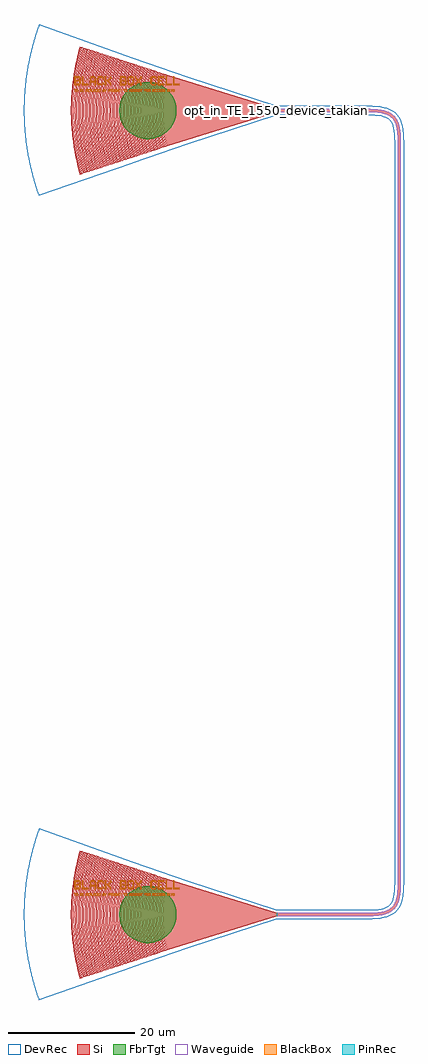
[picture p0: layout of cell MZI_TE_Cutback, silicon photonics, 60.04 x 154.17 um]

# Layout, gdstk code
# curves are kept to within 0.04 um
import gdstk
lib = gdstk.Library(unit=1e-6, precision=1e-09)
def R(c, l, rs):  # rectangles x0, y0, x1, y1
    for r in rs: c.add(gdstk.rectangle(r[:2], r[2:], *l))
def P(c, l, *ps):  # polygons
    for p in ps: c.add(gdstk.Polygon(p, *l))
Si = (1, 0)
PinRec = (1, 10)
Waveguide = (1, 99)
DevRec = (68, 0)
FbrTgt = (81, 0)
BlackBox = (998, 0)

te1550_subgc_neg31_oxide = lib.new_cell('TE1550_SubGC_neg31_oxide')
P(te1550_subgc_neg31_oxide, Si, [(-17.556,-5.704),(-17.743,-4.914),(-17.881,-4.233),(-18.016,-3.437),(-18.095,-2.866),(-18.165,-2.237),(-18.222,-1.549),(-18.256,-0.918),(-18.274,-0.115),(-18.264,0.689),(-18.233,1.377),(-18.176,2.122),(-18.095,2.866),(-18.016,3.437),(-17.881,4.233),(-17.743,4.914),(-17.556,5.704),(-17.481,5.68),(-17.643,5.006),(-17.784,4.329),(-17.922,3.536),(-18.032,2.74),(-18.104,2.056),(-18.148,1.486),(-18.186,0.686),(-18.196,0.114),(-18.189,-0.572),(-18.165,-1.2),(-18.123,-1.828),(-18.058,-2.512),(-17.948,-3.365),(-17.826,-4.102),(-17.668,-4.893),(-17.481,-5.68)],
  [(-17.906,-5.818),(-18.207,-4.492),(-18.452,-2.982),(-18.601,-1.405),(-18.643,-0.117),(-18.601,1.405),(-18.452,2.982),(-18.207,4.492),(-17.906,5.818),(-17.659,5.738),(-17.932,4.544),(-18.188,2.998),(-18.338,1.443),(-18.383,0.116),(-18.338,-1.443),(-18.188,-2.998),(-17.932,-4.544),(-17.659,-5.738)],
  [(-18.084,-5.876),(-18.24,-5.237),(-18.4,-4.479),(-18.525,-3.776),(-18.629,-3.071),(-18.717,-2.305),(-18.772,-1.656),(-18.811,-0.946),(-18.83,-0.118),(-18.823,0.592),(-18.791,1.36),(-18.739,2.069),(-18.644,2.953),(-18.544,3.658),(-18.4,4.479),(-18.24,5.237),(-18.084,5.876),(-18.01,5.852),(-18.204,5.041),(-18.368,4.227),(-18.503,3.409),(-18.609,2.589),(-18.713,1.354),(-18.745,0.589),(-18.752,0.118),(-18.745,-0.589),(-18.713,-1.354),(-18.609,-2.589),(-18.503,-3.409),(-18.368,-4.227),(-18.204,-5.041),(-18.01,-5.852)],
  [(-18.435,-5.99),(-18.77,-4.506),(-19.001,-3.071),(-19.135,-1.748),(-19.199,-0.121),(-19.159,1.387),(-19.001,3.071),(-18.77,4.506),(-18.435,5.99),(-18.188,5.91),(-18.517,4.445),(-18.744,3.029),(-18.896,1.427),(-18.939,0.119),(-18.896,-1.427),(-18.759,-2.911),(-18.517,-4.445),(-18.188,-5.91)],
  [(-18.613,-6.048),(-18.815,-5.211),(-18.963,-4.49),(-19.099,-3.705),(-19.201,-2.979),(-19.269,-2.373),(-19.338,-1.522),(-19.369,-0.913),(-19.386,-0.122),(-19.377,0.67),(-19.349,1.339),(-19.286,2.191),(-19.201,2.979),(-19.099,3.705),(-18.963,4.49),(-18.815,5.211),(-18.613,6.048),(-18.539,6.024),(-18.713,5.309),(-18.876,4.532),(-19.013,3.751),(-19.131,2.907),(-19.203,2.242),(-19.264,1.455),(-19.291,0.91),(-19.308,0.121),(-19.299,-0.667),(-19.271,-1.334),(-19.239,-1.819),(-19.166,-2.605),(-19.076,-3.329),(-18.91,-4.352),(-18.753,-5.13),(-18.539,-6.024)],
  [(-18.964,-6.162),(-19.262,-4.881),(-19.533,-3.283),(-19.689,-1.799),(-19.755,-0.124),(-19.717,1.365),(-19.573,2.974),(-19.334,4.513),(-18.964,6.162),(-18.717,6.081),(-19.046,4.636),(-19.301,3.057),(-19.43,1.775),(-19.495,0.122),(-19.454,-1.408),(-19.301,-3.057),(-19.046,-4.636),(-18.717,-6.081)],
  [(-19.142,-6.22),(-19.337,-5.421),(-19.48,-4.742),(-19.625,-3.936),(-19.726,-3.251),(-19.808,-2.566),(-19.884,-1.691),(-19.924,-0.94),(-19.942,-0.125),(-19.934,0.626),(-19.9,1.44),(-19.833,2.316),(-19.758,3.002),(-19.635,3.874),(-19.516,4.556),(-19.337,5.421),(-19.142,6.22),(-19.068,6.195),(-19.289,5.277),(-19.44,4.538),(-19.587,3.673),(-19.696,2.866),(-19.772,2.12),(-19.822,1.435),(-19.853,0.749),(-19.864,0.125),(-19.853,-0.749),(-19.822,-1.435),(-19.772,-2.12),(-19.696,-2.866),(-19.587,-3.673),(-19.44,-4.538),(-19.289,-5.277),(-19.068,-6.195)],
  [(-19.493,-6.334),(-19.839,-4.829),(-20.107,-3.185),(-20.256,-1.658),(-20.311,-0.128),(-20.268,1.467),(-20.107,3.185),(-19.839,4.829),(-19.493,6.334),(-19.246,6.253),(-19.574,4.829),(-19.842,3.207),(-19.997,1.637),(-20.051,0.126),(-20.005,-1.511),(-19.866,-3.019),(-19.622,-4.581),(-19.246,-6.253)],
  [(-19.671,-6.391),(-19.843,-5.697),(-20.008,-4.937),(-20.149,-4.173),(-20.283,-3.278),(-20.379,-2.444),(-20.438,-1.738),(-20.482,-0.901),(-20.498,-0.129),(-20.482,0.901),(-20.438,1.738),(-20.379,2.444),(-20.283,3.278),(-20.149,4.173),(-20.008,4.937),(-19.843,5.697),(-19.671,6.391),(-19.597,6.367),(-19.797,5.55),(-20.005,4.538),(-20.153,3.648),(-20.246,2.946),(-20.325,2.179),(-20.373,1.539),(-20.404,0.898),(-20.42,0.128),(-20.412,-0.641),(-20.384,-1.347),(-20.336,-2.051),(-20.261,-2.819),(-20.153,-3.648),(-20.017,-4.474),(-19.825,-5.424),(-19.597,-6.367)],
  [(-20.022,-6.505),(-20.392,-4.896),(-20.656,-3.272),(-20.81,-1.704),(-20.867,-0.131),(-20.81,1.704),(-20.656,3.272),(-20.392,4.896),(-20.022,6.505),(-19.774,6.425),(-20.139,4.835),(-20.382,3.36),(-20.542,1.812),(-20.607,0.129),(-20.567,-1.424),(-20.399,-3.231),(-20.139,-4.835),(-19.774,-6.425)],
  [(-20.199,-6.563),(-20.437,-5.591),(-20.599,-4.809),(-20.726,-4.089),(-20.832,-3.367),(-20.931,-2.511),(-20.992,-1.785),(-21.04,-0.86),(-21.054,-0.132),(-21.044,0.728),(-21.001,1.653),(-20.931,2.511),(-20.849,3.235),(-20.726,4.089),(-20.599,4.809),(-20.437,5.591),(-20.199,6.563),(-20.125,6.539),(-20.347,5.635),(-20.523,4.791),(-20.67,3.943),(-20.804,2.961),(-20.878,2.239),(-20.923,1.647),(-20.962,0.857),(-20.976,0.132),(-20.966,-0.725),(-20.935,-1.449),(-20.878,-2.239),(-20.804,-2.961),(-20.67,-3.943),(-20.523,-4.791),(-20.347,-5.635),(-20.125,-6.539)],
  [(-20.55,-6.677),(-20.906,-5.158),(-21.205,-3.359),(-21.355,-1.883),(-21.423,-0.135),(-21.373,1.615),(-21.205,3.359),(-20.906,5.158),(-20.55,6.677),(-20.303,6.597),(-20.705,4.833),(-20.957,3.252),(-21.105,1.728),(-21.163,0.133),(-21.105,-1.728),(-20.957,-3.252),(-20.705,-4.833),(-20.303,-6.597)],
  [(-20.728,-6.735),(-20.912,-6.004),(-21.101,-5.136),(-21.249,-4.331),(-21.372,-3.523),(-21.483,-2.577),(-21.546,-1.832),(-21.593,-0.95),(-21.61,-0.136),(-21.593,0.95),(-21.555,1.696),(-21.483,2.577),(-21.39,3.388),(-21.249,4.331),(-21.101,5.136),(-20.912,6.004),(-20.728,6.735),(-20.654,6.711),(-20.868,5.85),(-21.025,5.118),(-21.195,4.181),(-21.33,3.241),(-21.412,2.5),(-21.473,1.758),(-21.515,0.947),(-21.532,0.135),(-21.525,-0.609),(-21.497,-1.352),(-21.448,-2.095),(-21.37,-2.904),(-21.237,-3.913),(-21.077,-4.85),(-20.868,-5.85),(-20.654,-6.711)],
  [(-21.079,-6.849),(-21.432,-5.359),(-21.736,-3.583),(-21.923,-1.725),(-21.979,-0.138),(-21.923,1.725),(-21.772,3.308),(-21.473,5.155),(-21.079,6.849),(-20.832,6.769),(-21.207,5.162),(-21.47,3.608),(-21.664,1.705),(-21.719,0.136),(-21.664,-1.705),(-21.515,-3.269),(-21.207,-5.162),(-20.832,-6.769)],
  [(-21.257,-6.907),(-21.494,-5.953),(-21.655,-5.199),(-21.817,-4.304),(-21.93,-3.544),(-22.042,-2.574),(-22.105,-1.81),(-22.146,-1.044),(-22.166,-0.139),(-22.159,0.627),(-22.114,1.67),(-22.042,2.574),(-21.957,3.336),(-21.817,4.304),(-21.655,5.199),(-21.494,5.953),(-21.257,6.907),(-21.183,6.883),(-21.419,5.932),(-21.606,5.044),(-21.773,4.083),(-21.888,3.256),(-21.971,2.495),(-22.036,1.665),(-22.073,0.902),(-22.088,0.139),(-22.081,-0.624),(-22.052,-1.387),(-22.001,-2.149),(-21.905,-3.117),(-21.773,-4.083),(-21.606,-5.044),(-21.419,-5.932),(-21.183,-6.883)],
  [(-21.608,-7.021),(-21.985,-5.425),(-22.294,-3.603),(-22.482,-1.698),(-22.535,-0.142),(-22.482,1.698),(-22.294,3.603),(-21.985,5.425),(-21.608,7.021),(-21.361,6.941),(-21.761,5.224),(-22.028,3.631),(-22.218,1.749),(-22.275,0.14),(-22.227,-1.609),(-22.073,-3.283),(-21.788,-5.086),(-21.361,-6.941)],
  [(-21.786,-7.079),(-21.964,-6.381),(-22.167,-5.469),(-22.302,-4.765),(-22.469,-3.704),(-22.565,-2.923),(-22.649,-1.997),(-22.704,-0.999),(-22.722,-0.143),(-22.713,0.714),(-22.677,1.57),(-22.601,2.567),(-22.488,3.562),(-22.374,4.341),(-22.195,5.329),(-22.03,6.101),(-21.786,7.079),(-21.712,7.055),(-21.922,6.22),(-22.161,5.1),(-22.308,4.256),(-22.447,3.267),(-22.53,2.487),(-22.586,1.778),(-22.626,0.996),(-22.644,0.142),(-22.635,-0.711),(-22.595,-1.635),(-22.53,-2.487),(-22.447,-3.267),(-22.308,-4.256),(-22.161,-5.1),(-21.922,-6.22),(-21.712,-7.055)],
  [(-22.137,-7.193),(-22.54,-5.486),(-22.843,-3.692),(-23.011,-2.102),(-23.091,-0.145),(-23.045,1.595),(-22.862,3.547),(-22.54,5.486),(-22.137,7.193),(-21.89,7.112),(-22.287,5.425),(-22.596,3.579),(-22.777,1.721),(-22.831,0.143),(-22.777,-1.721),(-22.596,-3.579),(-22.287,-5.425),(-21.89,-7.112)],
  [(-22.315,-7.25),(-22.549,-6.321),(-22.736,-5.458),(-22.895,-4.592),(-23.047,-3.576),(-23.139,-2.776),(-23.218,-1.827),(-23.262,-0.951),(-23.278,-0.146),(-23.262,0.951),(-23.218,1.827),(-23.139,2.776),(-23.047,3.576),(-22.895,4.592),(-22.736,5.458),(-22.549,6.321),(-22.315,7.25),(-22.24,7.226),(-22.457,6.372),(-22.646,5.512),(-22.843,4.432),(-22.979,3.492),(-23.076,2.621),(-23.145,1.748),(-23.184,0.947),(-23.2,0.146),(-23.194,-0.583),(-23.158,-1.53),(-23.102,-2.33),(-23.006,-3.274),(-22.899,-4.071),(-22.73,-5.081),(-22.507,-6.157),(-22.24,-7.226)],
  [(-22.666,-7.364),(-23.095,-5.545),(-23.392,-3.78),(-23.581,-1.93),(-23.647,-0.149),(-23.586,1.856),(-23.421,3.559),(-23.095,5.545),(-22.666,7.364),(-22.418,7.284),(-22.842,5.484),(-23.145,3.666),(-23.311,2.056),(-23.387,0.147),(-23.336,-1.689),(-23.145,-3.666),(-22.842,-5.484),(-22.418,-7.284)],
  [(-22.843,-7.422),(-23.067,-6.545),(-23.262,-5.662),(-23.441,-4.701),(-23.556,-3.959),(-23.691,-2.842),(-23.762,-2.02),(-23.815,-1.048),(-23.834,-0.15),(-23.82,0.898),(-23.782,1.721),(-23.713,2.618),(-23.606,3.587),(-23.441,4.701),(-23.277,5.588),(-23.067,6.545),(-22.843,7.422),(-22.769,7.398),(-22.992,6.523),(-23.201,5.57),(-23.389,4.538),(-23.538,3.501),(-23.642,2.535),(-23.704,1.716),(-23.742,0.895),(-23.756,0.149),(-23.742,-0.895),(-23.704,-1.716),(-23.642,-2.535),(-23.565,-3.278),(-23.401,-4.464),(-23.23,-5.423),(-22.992,-6.523),(-22.769,-7.398)],
  [(-23.194,-7.536),(-23.605,-5.824),(-23.951,-3.793),(-24.135,-1.976),(-24.203,-0.152),(-24.15,1.748),(-23.961,3.718),(-23.605,5.824),(-23.194,7.536),(-22.947,7.456),(-23.368,5.688),(-23.684,3.827),(-23.876,1.955),(-23.943,0.15),(-23.886,-1.804),(-23.704,-3.678),(-23.383,-5.614),(-22.947,-7.456)],
  [(-23.372,-7.594),(-23.602,-6.696),(-23.802,-5.793),(-23.96,-4.962),(-24.115,-3.975),(-24.219,-3.137),(-24.316,-2.067),(-24.373,-0.996),(-24.39,-0.153),(-24.373,0.996),(-24.316,2.067),(-24.219,3.137),(-24.115,3.975),(-23.96,4.962),(-23.802,5.793),(-23.602,6.696),(-23.372,7.594),(-23.298,7.57),(-23.562,6.525),(-23.801,5.399),(-23.971,4.417),(-24.088,3.583),(-24.188,2.67),(-24.249,1.908),(-24.295,0.993),(-24.312,0.153),(-24.3,-0.84),(-24.263,-1.68),(-24.195,-2.594),(-24.088,-3.583),(-23.971,-4.417),(-23.801,-5.399),(-23.562,-6.525),(-23.298,-7.57)],
  [(-23.723,-7.708),(-24.145,-5.957),(-24.479,-4.035),(-24.678,-2.176),(-24.759,-0.156),(-24.709,1.71),(-24.5,3.88),(-24.145,5.957),(-23.723,7.708),(-23.476,7.628),(-23.908,5.819),(-24.233,3.916),(-24.43,2),(-24.499,0.154),(-24.43,-2),(-24.233,-3.916),(-23.908,-5.819),(-23.476,-7.628)],
  [(-23.901,-7.766),(-24.137,-6.848),(-24.358,-5.848),(-24.518,-4.997),(-24.674,-3.987),(-24.779,-3.13),(-24.87,-2.115),(-24.916,-1.332),(-24.946,-0.157),(-24.931,0.94),(-24.891,1.802),(-24.803,2.896),(-24.695,3.832),(-24.531,4.92),(-24.358,5.848),(-24.137,6.848),(-23.901,7.766),(-23.827,7.742),(-24.098,6.674),(-24.313,5.676),(-24.493,4.672),(-24.638,3.665),(-24.733,2.809),(-24.803,1.952),(-24.848,1.094),(-24.868,0.156),(-24.858,-0.781),(-24.818,-1.718),(-24.733,-2.809),(-24.638,-3.665),(-24.493,-4.672),(-24.313,-5.676),(-24.098,-6.674),(-23.827,-7.742)],
  [(-24.252,-7.88),(-24.717,-5.934),(-25.049,-3.967),(-25.232,-2.225),(-25.315,-0.159),(-25.259,1.828),(-25.07,3.809),(-24.717,5.934),(-24.252,7.88),(-24.005,7.8),(-24.464,5.873),(-24.782,4.005),(-24.973,2.202),(-25.055,0.157),(-25.009,-1.652),(-24.803,-3.848),(-24.464,-5.873),(-24.005,-7.8)],
  [(-24.43,-7.938),(-24.709,-6.843),(-24.866,-6.135),(-25.049,-5.187),(-25.234,-3.997),(-25.339,-3.12),(-25.424,-2.162),(-25.478,-1.202),(-25.502,-0.16),(-25.489,0.881),(-25.435,2.002),(-25.339,3.12),(-25.234,3.997),(-25.049,5.187),(-24.866,6.135),(-24.709,6.843),(-24.43,7.938),(-24.356,7.914),(-24.634,6.822),(-24.839,5.881),(-25,5.014),(-25.178,3.826),(-25.278,2.952),(-25.352,2.075),(-25.397,1.278),(-25.424,0.16),(-25.409,-0.958),(-25.377,-1.677),(-25.293,-2.792),(-25.198,-3.667),(-25.052,-4.697),(-24.839,-5.881),(-24.634,-6.822),(-24.356,-7.914)],
  [(-24.781,-8.052),(-25.241,-6.144),(-25.576,-4.216),(-25.803,-2.031),(-25.871,-0.163),(-25.803,2.031),(-25.609,3.974),(-25.274,5.984),(-24.781,8.052),(-24.533,7.971),(-24.972,6.161),(-25.308,4.253),(-25.544,2.01),(-25.611,0.161),(-25.544,-2.01),(-25.352,-3.934),(-25.021,-5.924),(-24.533,-7.971)],
  [(-24.959,-8.11),(-25.187,-7.232),(-25.423,-6.188),(-25.635,-5.057),(-25.772,-4.165),(-25.891,-3.188),(-25.984,-2.127),(-26.03,-1.31),(-26.058,-0.164),(-26.045,0.9),(-25.995,1.964),(-25.891,3.188),(-25.794,4.002),(-25.635,5.057),(-25.423,6.188),(-25.187,7.232),(-24.959,8.11),(-24.884,8.085),(-25.15,7.051),(-25.38,6.009),(-25.572,4.961),(-25.738,3.828),(-25.846,2.853),(-25.917,1.958),(-25.967,0.898),(-25.98,0.163),(-25.967,-0.898),(-25.932,-1.713),(-25.868,-2.609),(-25.768,-3.585),(-25.624,-4.638),(-25.412,-5.848),(-25.207,-6.811),(-24.884,-8.085)],
  [(-25.31,-8.224),(-25.815,-6.112),(-26.136,-4.224),(-26.357,-2.074),(-26.427,-0.166),(-26.368,1.909),(-26.18,3.894),(-25.815,6.112),(-25.31,8.224),(-25.062,8.143),(-25.512,6.295),(-25.868,4.264),(-26.098,2.054),(-26.167,0.164),(-26.123,-1.644),(-25.923,-3.856),(-25.562,-6.052),(-25.062,-8.143)],
  [(-25.487,-8.281),(-25.761,-7.222),(-25.946,-6.402),(-26.152,-5.33),(-26.321,-4.254),(-26.451,-3.173),(-26.532,-2.256),(-26.589,-1.254),(-26.614,-0.167),(-26.598,1.003),(-26.538,2.172),(-26.451,3.173),(-26.321,4.254),(-26.152,5.33),(-25.946,6.402),(-25.761,7.222),(-25.487,8.281),(-25.413,8.257),(-25.686,7.201),(-25.921,6.137),(-26.118,5.067),(-26.288,3.91),(-26.374,3.164),(-26.466,2.083),(-26.511,1.25),(-26.536,0.167),(-26.525,-0.834),(-26.482,-1.833),(-26.406,-2.831),(-26.288,-3.91),(-26.118,-5.067),(-25.921,-6.137),(-25.686,-7.201),(-25.413,-8.257)],
  [(-25.838,-8.395),(-26.339,-6.323),(-26.685,-4.312),(-26.887,-2.456),(-26.983,-0.17),(-26.917,2.033),(-26.708,4.144),(-26.356,6.24),(-25.838,8.395),(-25.591,8.315),(-26.086,6.263),(-26.44,4.188),(-26.658,2.014),(-26.723,0.168),(-26.658,-2.014),(-26.44,-4.188),(-26.086,-6.263),(-25.591,-8.315)],
  [(-26.016,-8.453),(-26.256,-7.539),(-26.503,-6.451),(-26.697,-5.441),(-26.858,-4.427),(-26.976,-3.494),(-27.086,-2.303),(-27.144,-1.28),(-27.17,-0.085),(-27.156,0.939),(-27.098,2.133),(-27.012,3.154),(-26.893,4.173),(-26.726,5.272),(-26.538,6.283),(-26.256,7.539),(-26.016,8.453),(-25.942,8.429),(-26.261,7.184),(-26.479,6.181),(-26.664,5.173),(-26.838,3.992),(-26.943,3.06),(-27.026,2.042),(-27.078,0.936),(-27.092,0.085),(-27.078,-0.936),(-27.026,-2.042),(-26.943,-3.06),(-26.838,-3.992),(-26.664,-5.173),(-26.479,-6.181),(-26.261,-7.184),(-25.942,-8.429)],
  [(-26.367,-8.567),(-26.897,-6.368),(-27.246,-4.315),(-27.466,-2.162),(-27.539,-0.087),(-27.466,2.162),(-27.246,4.315),(-26.897,6.368),(-26.367,8.567),(-26.12,8.487),(-26.644,6.308),(-26.989,4.275),(-27.218,1.97),(-27.279,0.086),(-27.218,-1.97),(-26.989,-4.275),(-26.644,-6.308),(-26.12,-8.487)],
  [(-26.545,-8.625),(-26.832,-7.522),(-27.079,-6.411),(-27.286,-5.294),(-27.442,-4.258),(-27.573,-3.132),(-27.658,-2.089),(-27.712,-0.958),(-27.726,-0.087),(-27.712,0.958),(-27.658,2.089),(-27.573,3.132),(-27.442,4.258),(-27.286,5.294),(-27.079,6.411),(-26.832,7.522),(-26.545,8.625),(-26.471,8.601),(-26.777,7.416),(-27.003,6.393),(-27.195,5.365),(-27.365,4.246),(-27.487,3.209),(-27.586,1.997),(-27.634,0.955),(-27.648,0.087),(-27.634,-0.955),(-27.586,-1.997),(-27.52,-2.863),(-27.42,-3.815),(-27.265,-4.935),(-27.071,-6.051),(-26.817,-7.246),(-26.63,-8.01),(-26.471,-8.601)],
  [(-26.896,-8.739),(-27.402,-6.67),(-27.783,-4.49),(-28.014,-2.293),(-28.095,-0.088),(-28.026,2.117),(-27.807,4.315),(-27.438,6.496),(-26.896,8.739),(-26.649,8.659),(-27.185,6.436),(-27.55,4.275),(-27.761,2.185),(-27.835,0.087),(-27.761,-2.185),(-27.55,-4.275),(-27.185,-6.436),(-26.649,-8.659)],
  [(-27.074,-8.797),(-27.346,-7.759),(-27.602,-6.627),(-27.802,-5.576),(-27.955,-4.608),(-28.098,-3.46),(-28.194,-2.397),(-28.255,-1.332),(-28.282,-0.089),(-28.265,1.066),(-28.218,2.042),(-28.134,3.106),(-28.015,4.167),(-27.832,5.4),(-27.62,6.539),(-27.346,7.759),(-27.074,8.797),(-27,8.773),(-27.292,7.651),(-27.544,6.521),(-27.77,5.297),(-27.949,4.067),(-28.048,3.186),(-28.129,2.214),(-28.184,1.152),(-28.204,0.089),(-28.187,-1.063),(-28.146,-1.948),(-28.073,-2.921),(-27.949,-4.067),(-27.77,-5.297),(-27.544,-6.521),(-27.292,-7.651),(-27,-8.773)],
  [(-27.425,-8.911),(-27.979,-6.624),(-28.344,-4.489),(-28.568,-2.339),(-28.651,-0.09),(-28.568,2.339),(-28.344,4.489),(-27.979,6.624),(-27.425,8.911),(-27.177,8.83),(-27.708,6.652),(-28.075,4.537),(-28.309,2.317),(-28.391,0.089),(-28.309,-2.317),(-28.075,-4.537),(-27.708,-6.652),(-27.177,-8.83)],
  [(-27.603,-8.969),(-27.881,-7.91),(-28.124,-6.845),(-28.347,-5.685),(-28.529,-4.518),(-28.678,-3.257),(-28.761,-2.264),(-28.814,-1.268),(-28.838,-0.091),(-28.826,0.906),(-28.761,2.264),(-28.678,3.257),(-28.529,4.518),(-28.347,5.685),(-28.124,6.845),(-27.881,7.91),(-27.603,8.969),(-27.528,8.944),(-27.806,7.889),(-28.085,6.649),(-28.316,5.402),(-28.476,4.327),(-28.582,3.428),(-28.677,2.348),(-28.736,1.265),(-28.76,0.09),(-28.748,-0.903),(-28.695,-2.077),(-28.609,-3.158),(-28.499,-4.147),(-28.331,-5.312),(-28.121,-6.472),(-27.87,-7.624),(-27.528,-8.944)],
  [(-27.953,-9.083),(-28.52,-6.752),(-28.893,-4.576),(-29.135,-2.201),(-29.207,-0.092),(-29.135,2.201),(-28.918,4.394),(-28.52,6.752),(-27.953,9.083),(-27.706,9.002),(-28.23,6.871),(-28.624,4.626),(-28.863,2.363),(-28.947,0.091),(-28.887,-2),(-28.649,-4.445),(-28.23,-6.871),(-27.706,-9.002)],
  [(-28.131,-9.14),(-28.416,-8.062),(-28.645,-7.068),(-28.86,-5.977),(-29.078,-4.605),(-29.221,-3.412),(-29.315,-2.307),(-29.373,-1.2),(-29.394,-0.092),(-29.373,1.2),(-29.315,2.307),(-29.221,3.412),(-29.078,4.605),(-28.86,5.977),(-28.645,7.068),(-28.416,8.062),(-28.131,9.14),(-28.057,9.116),(-28.363,7.951),(-28.663,6.596),(-28.892,5.323),(-29.061,4.136),(-29.179,3.036),(-29.255,2.025),(-29.301,1.013),(-29.316,0.092),(-29.301,-1.013),(-29.255,-2.025),(-29.179,-3.036),(-29.061,-4.136),(-28.892,-5.323),(-28.663,-6.596),(-28.363,-7.951),(-28.057,-9.116)],
  [(-28.482,-9.254),(-29.003,-7.156),(-29.416,-4.849),(-29.683,-2.336),(-29.763,-0.094),(-29.683,2.336),(-29.455,4.57),(-29.042,6.972),(-28.482,9.254),(-28.235,9.174),(-28.77,7.003),(-29.173,4.714),(-29.424,2.316),(-29.503,0.093),(-29.424,-2.316),(-29.173,-4.714),(-28.77,-7.003),(-28.235,-9.174)],
  [(-28.66,-9.312),(-28.928,-8.306),(-29.224,-7.016),(-29.421,-5.996),(-29.601,-4.879),(-29.733,-3.851),(-29.863,-2.445),(-29.925,-1.317),(-29.95,-0.094),(-29.937,0.941),(-29.882,2.163),(-29.792,3.289),(-29.64,4.599),(-29.437,5.904),(-29.224,7.016),(-28.928,8.306),(-28.66,9.312),(-28.586,9.288),(-28.898,8.101),(-29.148,6.998),(-29.393,5.703),(-29.563,4.587),(-29.696,3.467),(-29.798,2.251),(-29.847,1.314),(-29.872,0.094),(-29.862,-0.845),(-29.798,-2.251),(-29.696,-3.467),(-29.563,-4.587),(-29.393,-5.703),(-29.148,-6.998),(-28.898,-8.101),(-28.586,-9.288)],
  [(-29.011,-9.426),(-29.563,-7.196),(-29.965,-4.939),(-30.237,-2.38),(-30.319,-0.095),(-30.25,2.19),(-30.017,4.561),(-29.602,7.008),(-29.011,9.426),(-28.764,9.346),(-29.33,7.041),(-29.735,4.709),(-29.978,2.359),(-30.059,0.094),(-29.978,-2.359),(-29.735,-4.709),(-29.33,-7.041),(-28.764,-9.346)],
  [(-29.189,-9.484),(-29.554,-8.085),(-29.784,-7.052),(-29.999,-5.918),(-30.163,-4.874),(-30.295,-3.827),(-30.417,-2.49),(-30.484,-1.246),(-30.506,-0.096),(-30.484,1.246),(-30.417,2.49),(-30.295,3.827),(-30.163,4.874),(-29.999,5.918),(-29.784,7.052),(-29.554,8.085),(-29.189,9.484),(-29.115,9.46),(-29.456,8.158),(-29.708,7.034),(-29.97,5.62),(-30.125,4.577),(-30.248,3.532),(-30.346,2.388),(-30.406,1.242),(-30.428,0.096),(-30.406,-1.242),(-30.346,-2.388),(-30.248,-3.532),(-30.125,-4.577),(-29.97,-5.62),(-29.708,-7.034),(-29.456,-8.158),(-29.115,-9.46)],
  [(-29.54,-9.598),(-30.143,-7.137),(-30.554,-4.741),(-30.798,-2.327),(-30.875,-0.097),(-30.798,2.327),(-30.554,4.741),(-30.143,7.137),(-29.54,9.598),(-29.293,9.518),(-29.89,7.077),(-30.284,4.796),(-30.539,2.307),(-30.615,0.096),(-30.539,-2.307),(-30.284,-4.796),(-29.89,-7.077),(-29.293,-9.518)],
  [(-29.718,-9.656),(-29.997,-8.613),(-30.285,-7.371),(-30.493,-6.315),(-30.712,-4.963),(-30.857,-3.8),(-30.964,-2.633),(-31.036,-1.366),(-31.062,-0.098),(-31.046,1.073),(-30.991,2.243),(-30.897,3.411),(-30.752,4.673),(-30.561,5.929),(-30.345,7.084),(-30.044,8.422),(-29.718,9.656),(-29.643,9.632),(-29.969,8.401),(-30.269,7.066),(-30.501,5.818),(-30.7,4.468),(-30.829,3.306),(-30.907,2.335),(-30.965,1.168),(-30.984,0.097),(-30.965,-1.168),(-30.907,-2.335),(-30.829,-3.306),(-30.7,-4.468),(-30.501,-5.818),(-30.269,-7.066),(-29.969,-8.401),(-29.643,-9.632)],
  [(-30.069,-9.77),(-30.664,-7.362),(-31.09,-4.924),(-31.346,-2.467),(-31.431,-0.099),(-31.346,2.467),(-31.09,4.924),(-30.664,7.362),(-30.069,9.77),(-29.821,9.69),(-30.411,7.301),(-30.833,4.883),(-31.093,2.349),(-31.171,0.098),(-31.093,-2.349),(-30.833,-4.883),(-30.411,-7.301),(-29.821,-9.69)],
  [(-30.246,-9.828),(-30.603,-8.475),(-30.866,-7.308),(-31.107,-6.035),(-31.288,-4.855),(-31.43,-3.67),(-31.539,-2.382),(-31.595,-1.291),(-31.618,-0.099),(-31.595,1.291),(-31.539,2.382),(-31.43,3.67),(-31.288,4.855),(-31.107,6.035),(-30.866,7.308),(-30.603,8.475),(-30.246,9.828),(-30.172,9.804),(-30.528,8.455),(-30.77,7.387),(-30.907,6.705),(-31.047,5.922),(-31.211,4.843),(-31.342,3.759),(-31.461,2.377),(-31.517,1.288),(-31.54,0.099),(-31.529,-0.892),(-31.474,-2.179),(-31.391,-3.266),(-31.25,-4.548),(-31.047,-5.922),(-30.83,-7.095),(-30.528,-8.455),(-30.172,-9.804)],
  [(-30.597,-9.942),(-31.225,-7.393),(-31.625,-5.111),(-31.893,-2.611),(-31.987,-0.1),(-31.907,2.41),(-31.653,4.911),(-31.225,7.393),(-30.597,9.942),(-30.35,9.861),(-30.931,7.529),(-31.396,4.872),(-31.641,2.49),(-31.727,0.1),(-31.641,-2.49),(-31.396,-4.872),(-30.931,-7.529),(-30.35,-9.861)],
  [(-30.775,-9.999),(-31.09,-8.821),(-31.344,-7.734),(-31.564,-6.64),(-31.795,-5.241),(-31.95,-4.036),(-32.072,-2.727),(-32.129,-1.819),(-32.154,-1.213),(-32.174,-0.101),(-32.154,1.213),(-32.1,2.323),(-32.012,3.432),(-31.851,4.84),(-31.686,5.941),(-31.428,7.337),(-31.139,8.624),(-30.775,9.999),(-30.701,9.975),(-31.015,8.8),(-31.18,8.11),(-31.352,7.319),(-31.593,6.027),(-31.774,4.828),(-31.915,3.625),(-32.009,2.519),(-32.069,1.411),(-32.096,0.101),(-32.076,-1.21),(-32.009,-2.519),(-31.915,-3.625),(-31.774,-4.828),(-31.593,-6.027),(-31.352,-7.319),(-31.18,-8.11),(-31.015,-8.8),(-30.701,-9.975)],
  [(-31.126,-10.114),(-31.724,-7.722),(-32.174,-5.199),(-32.447,-2.656),(-32.543,-0.102),(-32.519,1.329),(-32.447,2.656),(-32.174,5.199),(-31.724,7.722),(-31.126,10.114),(-30.879,10.033),(-31.471,7.66),(-31.917,5.158),(-32.188,2.635),(-32.283,0.101),(-32.202,-2.433),(-31.959,-4.856),(-31.534,-7.361),(-31.244,-8.653),(-30.879,-10.033)],
  [(-17.378,-5.646),(-17.678,-4.303),(-17.903,-2.893),(-18.043,-1.42),(-18.087,-0.114),(-18.05,1.306),(-17.924,2.724),(-17.678,4.303),(-17.378,5.646),(0,0.25),(0,-0.25)])
te1550_subgc_neg31_oxide.add(gdstk.Label('Ref: Yun Wang, Optics Express, 08/2014', (-33,0), layer=10, texttype=0))
te1550_subgc_neg31_oxide.add(gdstk.Label('http://dx.doi.org/10.1364/OE.22.020652', (-33,-2), layer=10, texttype=0))
te1550_subgc_neg31_oxide.add(gdstk.Label('TE 1550 -31 deg', (-33,2), layer=10, texttype=0))

text = lib.new_cell('TEXT')
P(text, BlackBox, [(0,0),(0,1.4),(0.8,1.4),(1,1.2),(0.2,1.2),(0.2,0.8),(0.7,0.8),(0.8,0.9),(0.8,1.1),(0.7,1.2),(1,1.2),(1,0.8),(0.9,0.7),(1,0.6),(0.2,0.6),(0.2,0.2),(0.7,0.2),(0.8,0.3),(0.8,0.5),(0.7,0.6),(1,0.6),(1,0.2),(0.8,0)],
  [(1.2,0),(1.2,1.4),(1.4,1.4),(1.4,0.2),(2.2,0.2),(2.2,0)],
  [(2.4,0),(2.4,1.1),(2.7,1.4),(3.1,1.4),(3.3,1.2),(2.8,1.2),(2.6,1),(2.6,0.7),(3.2,0.7),(3.2,1),(3,1.2),(3.3,1.2),(3.4,1.1),(3.4,0),(3.2,0),(3.2,0.5),(2.6,0.5),(2.6,0)],
  [(3.8,0),(3.6,0.2),(3.6,1.2),(3.8,1.4),(4.4,1.4),(4.6,1.2),(4.6,1),(4.4,1),(4.4,1.1),(4.3,1.2),(3.9,1.2),(3.8,1.1),(3.8,0.3),(3.9,0.2),(4.3,0.2),(4.4,0.3),(4.4,0.4),(4.6,0.4),(4.6,0.2),(4.4,0)],
  [(4.8,0),(4.8,1.4),(5,1.4),(5,0.8),(5.2,0.8),(5.6,1.2),(5.6,1.4),(5.8,1.4),(5.8,1.1),(5.4,0.7),(5.8,0.3),(5.8,0),(5.6,0),(5.6,0.2),(5.2,0.6),(5,0.6),(5,0)],
  [(7.2,0),(7.2,1.4),(8,1.4),(8.2,1.2),(7.4,1.2),(7.4,0.8),(7.9,0.8),(8,0.9),(8,1.1),(7.9,1.2),(8.2,1.2),(8.2,0.8),(8.1,0.7),(8.2,0.6),(7.4,0.6),(7.4,0.2),(7.9,0.2),(8,0.3),(8,0.5),(7.9,0.6),(8.2,0.6),(8.2,0.2),(8,0)],
  [(8.6,0),(8.4,0.2),(8.4,1.2),(8.6,1.4),(9.2,1.4),(9.4,1.2),(9.4,0.7),(9.2,0.7),(9.2,1.1),(9.1,1.2),(8.7,1.2),(8.6,1.1),(8.6,0.3),(8.7,0.2),(9.1,0.2),(9.2,0.3),(9.2,0.7),(9.4,0.7),(9.4,0.2),(9.2,0)],
  [(9.6,0),(9.6,0.3),(9.9,0.6),(9.9,0.8),(9.6,1.1),(9.6,1.4),(9.8,1.4),(9.8,1.2),(10.1,0.9),(10.4,1.2),(10.4,1.4),(10.6,1.4),(10.6,1.1),(10.3,0.8),(10.3,0.6),(10.6,0.3),(10.6,0),(10.4,0),(10.4,0.2),(10.1,0.5),(9.8,0.2),(9.8,0)],
  [(12.2,0),(12,0.2),(12,1.2),(12.2,1.4),(12.8,1.4),(13,1.2),(13,1),(12.8,1),(12.8,1.1),(12.7,1.2),(12.3,1.2),(12.2,1.1),(12.2,0.3),(12.3,0.2),(12.7,0.2),(12.8,0.3),(12.8,0.4),(13,0.4),(13,0.2),(12.8,0)],
  [(13.2,0),(13.2,1.4),(14.2,1.4),(14.2,1.2),(13.4,1.2),(13.4,0.8),(13.8,0.8),(13.8,0.6),(13.4,0.6),(13.4,0.2),(14.2,0.2),(14.2,0)],
  [(14.4,0),(14.4,1.4),(14.6,1.4),(14.6,0.2),(15.4,0.2),(15.4,0)],
  [(15.6,0),(15.6,1.4),(15.8,1.4),(15.8,0.2),(16.6,0.2),(16.6,0)])

text_1 = lib.new_cell('TEXT$1')
P(text_1, BlackBox, [(0.1,0),(0.1,0.3),(0,0.3),(0,0.35),(0.25,0.35),(0.25,0.3),(0.15,0.3),(0.15,0)],
  [(0.35,0),(0.3,0.05),(0.3,0.3),(0.35,0.35),(0.5,0.35),(0.55,0.3),(0.55,0.175),(0.5,0.175),(0.5,0.275),(0.475,0.3),(0.375,0.3),(0.35,0.275),(0.35,0.075),(0.375,0.05),(0.475,0.05),(0.5,0.075),(0.5,0.175),(0.55,0.175),(0.55,0.05),(0.5,0)],
  [(0.9,0),(0.9,0.35),(1.1,0.35),(1.15,0.3),(0.95,0.3),(0.95,0.2),(1.075,0.2),(1.1,0.225),(1.1,0.275),(1.075,0.3),(1.15,0.3),(1.15,0.2),(1.125,0.175),(1.15,0.15),(0.95,0.15),(0.95,0.05),(1.075,0.05),(1.1,0.075),(1.1,0.125),(1.075,0.15),(1.15,0.15),(1.15,0.05),(1.1,0)],
  [(1.2,0),(1.2,0.35),(1.45,0.35),(1.45,0.3),(1.25,0.3),(1.25,0.2),(1.35,0.2),(1.35,0.15),(1.25,0.15),(1.25,0.05),(1.45,0.05),(1.45,0)],
  [(1.8,0),(1.8,0.35),(2,0.35),(2.05,0.3),(1.85,0.3),(1.85,0.2),(1.975,0.2),(2,0.225),(2,0.275),(1.975,0.3),(2.05,0.3),(2.05,0.2),(2,0.15),(2,0.125),(2.05,0.075),(2.05,0),(2,0),(2,0.05),(1.9,0.15),(1.85,0.15),(1.85,0)],
  [(2.1,0),(2.1,0.35),(2.35,0.35),(2.35,0.3),(2.15,0.3),(2.15,0.2),(2.25,0.2),(2.25,0.15),(2.15,0.15),(2.15,0.05),(2.35,0.05),(2.35,0)],
  [(2.4,0),(2.4,0.35),(2.6,0.35),(2.65,0.3),(2.65,0.2),(2.6,0.15),(2.45,0.15),(2.45,0.2),(2.575,0.2),(2.6,0.225),(2.6,0.275),(2.575,0.3),(2.45,0.3),(2.45,0)],
  [(2.7,0),(2.7,0.35),(2.75,0.35),(2.75,0.05),(2.95,0.05),(2.95,0)],
  [(3,0),(3,0.275),(3.075,0.35),(3.175,0.35),(3.225,0.3),(3.1,0.3),(3.05,0.25),(3.05,0.175),(3.2,0.175),(3.2,0.25),(3.15,0.3),(3.225,0.3),(3.25,0.275),(3.25,0),(3.2,0),(3.2,0.125),(3.05,0.125),(3.05,0)],
  [(3.35,0),(3.3,0.05),(3.3,0.3),(3.35,0.35),(3.5,0.35),(3.55,0.3),(3.55,0.25),(3.5,0.25),(3.5,0.275),(3.475,0.3),(3.375,0.3),(3.35,0.275),(3.35,0.075),(3.375,0.05),(3.475,0.05),(3.5,0.075),(3.5,0.1),(3.55,0.1),(3.55,0.05),(3.5,0)],
  [(3.6,0),(3.6,0.35),(3.85,0.35),(3.85,0.3),(3.65,0.3),(3.65,0.2),(3.75,0.2),(3.75,0.15),(3.65,0.15),(3.65,0.05),(3.85,0.05),(3.85,0)],
  [(3.9,0),(3.9,0.35),(4.075,0.35),(4.125,0.3),(3.95,0.3),(3.95,0.05),(4.05,0.05),(4.1,0.1),(4.1,0.25),(4.05,0.3),(4.125,0.3),(4.15,0.275),(4.15,0.075),(4.075,0)],
  [(4.5,0),(4.5,0.35),(4.7,0.35),(4.75,0.3),(4.55,0.3),(4.55,0.2),(4.675,0.2),(4.7,0.225),(4.7,0.275),(4.675,0.3),(4.75,0.3),(4.75,0.2),(4.725,0.175),(4.75,0.15),(4.55,0.15),(4.55,0.05),(4.675,0.05),(4.7,0.075),(4.7,0.125),(4.675,0.15),(4.75,0.15),(4.75,0.05),(4.7,0)],
  [(4.9,0),(4.9,0.175),(4.8,0.275),(4.8,0.35),(4.85,0.35),(4.85,0.3),(4.925,0.225),(5,0.3),(5,0.35),(5.05,0.35),(5.05,0.275),(4.95,0.175),(4.95,0)],
  [(5.4,0),(5.4,0.35),(5.65,0.35),(5.65,0.3),(5.45,0.3),(5.45,0.2),(5.55,0.2),(5.55,0.15),(5.45,0.15),(5.45,0)],
  [(5.75,0),(5.7,0.05),(5.7,0.3),(5.75,0.35),(5.9,0.35),(5.95,0.3),(5.95,0.175),(5.9,0.175),(5.9,0.275),(5.875,0.3),(5.775,0.3),(5.75,0.275),(5.75,0.075),(5.775,0.05),(5.875,0.05),(5.9,0.075),(5.9,0.175),(5.95,0.175),(5.95,0.05),(5.9,0)],
  [(6.05,0),(6,0.05),(6,0.35),(6.05,0.35),(6.05,0.075),(6.075,0.05),(6.175,0.05),(6.2,0.075),(6.2,0.35),(6.25,0.35),(6.25,0.05),(6.2,0)],
  [(6.3,0),(6.3,0.35),(6.35,0.35),(6.475,0.225),(6.5,0.225),(6.5,0.35),(6.55,0.35),(6.55,0),(6.5,0),(6.5,0.125),(6.375,0.25),(6.35,0.25),(6.35,0)],
  [(6.6,0),(6.6,0.35),(6.775,0.35),(6.825,0.3),(6.65,0.3),(6.65,0.05),(6.75,0.05),(6.8,0.1),(6.8,0.25),(6.75,0.3),(6.825,0.3),(6.85,0.275),(6.85,0.075),(6.775,0)],
  [(6.9,0),(6.9,0.35),(7.1,0.35),(7.15,0.3),(6.95,0.3),(6.95,0.2),(7.075,0.2),(7.1,0.225),(7.1,0.275),(7.075,0.3),(7.15,0.3),(7.15,0.2),(7.1,0.15),(7.1,0.125),(7.15,0.075),(7.15,0),(7.1,0),(7.1,0.05),(7,0.15),(6.95,0.15),(6.95,0)],
  [(7.3,0),(7.3,0.175),(7.2,0.275),(7.2,0.35),(7.25,0.35),(7.25,0.3),(7.325,0.225),(7.4,0.3),(7.4,0.35),(7.45,0.35),(7.45,0.275),(7.35,0.175),(7.35,0)],
  [(7.9,0),(7.9,0.3),(7.8,0.3),(7.8,0.35),(8.05,0.35),(8.05,0.3),(7.95,0.3),(7.95,0)],
  [(8.15,0),(8.1,0.05),(8.1,0.3),(8.15,0.35),(8.3,0.35),(8.35,0.3),(8.35,0.175),(8.3,0.175),(8.3,0.275),(8.275,0.3),(8.175,0.3),(8.15,0.275),(8.15,0.075),(8.175,0.05),(8.275,0.05),(8.3,0.075),(8.3,0.175),(8.35,0.175),(8.35,0.05),(8.3,0)],
  [(8.7,0),(8.7,0.275),(8.775,0.35),(8.875,0.35),(8.925,0.3),(8.8,0.3),(8.75,0.25),(8.75,0.175),(8.9,0.175),(8.9,0.25),(8.85,0.3),(8.925,0.3),(8.95,0.275),(8.95,0),(8.9,0),(8.9,0.125),(8.75,0.125),(8.75,0)],
  [(9.05,0),(9,0.05),(9,0.3),(9.05,0.35),(9.2,0.35),(9.25,0.3),(9.25,0.25),(9.2,0.25),(9.2,0.275),(9.175,0.3),(9.075,0.3),(9.05,0.275),(9.05,0.075),(9.075,0.05),(9.175,0.05),(9.2,0.075),(9.2,0.1),(9.25,0.1),(9.25,0.05),(9.2,0)],
  [(9.35,0),(9.3,0.05),(9.3,0.3),(9.35,0.35),(9.5,0.35),(9.55,0.3),(9.55,0.25),(9.5,0.25),(9.5,0.275),(9.475,0.3),(9.375,0.3),(9.35,0.275),(9.35,0.075),(9.375,0.05),(9.475,0.05),(9.5,0.075),(9.5,0.1),(9.55,0.1),(9.55,0.05),(9.5,0)],
  [(9.65,0),(9.6,0.05),(9.6,0.3),(9.65,0.35),(9.8,0.35),(9.85,0.3),(9.85,0.175),(9.8,0.175),(9.8,0.275),(9.775,0.3),(9.675,0.3),(9.65,0.275),(9.65,0.075),(9.675,0.05),(9.775,0.05),(9.8,0.075),(9.8,0.175),(9.85,0.175),(9.85,0.05),(9.8,0)],
  [(9.95,0),(9.9,0.05),(9.9,0.35),(9.95,0.35),(9.95,0.075),(9.975,0.05),(10.075,0.05),(10.1,0.075),(10.1,0.35),(10.15,0.35),(10.15,0.05),(10.1,0)],
  [(10.2,0),(10.2,0.35),(10.25,0.35),(10.375,0.225),(10.4,0.225),(10.4,0.35),(10.45,0.35),(10.45,0),(10.4,0),(10.4,0.125),(10.275,0.25),(10.25,0.25),(10.25,0)],
  [(10.6,0),(10.6,0.3),(10.5,0.3),(10.5,0.35),(10.75,0.35),(10.75,0.3),(10.65,0.3),(10.65,0)],
  [(11.1,0),(11.1,0.35),(11.35,0.35),(11.35,0.3),(11.15,0.3),(11.15,0.2),(11.25,0.2),(11.25,0.15),(11.15,0.15),(11.15,0)],
  [(11.45,0),(11.4,0.05),(11.4,0.3),(11.45,0.35),(11.6,0.35),(11.65,0.3),(11.65,0.175),(11.6,0.175),(11.6,0.275),(11.575,0.3),(11.475,0.3),(11.45,0.275),(11.45,0.075),(11.475,0.05),(11.575,0.05),(11.6,0.075),(11.6,0.175),(11.65,0.175),(11.65,0.05),(11.6,0)],
  [(11.7,0),(11.7,0.35),(11.9,0.35),(11.95,0.3),(11.75,0.3),(11.75,0.2),(11.875,0.2),(11.9,0.225),(11.9,0.275),(11.875,0.3),(11.95,0.3),(11.95,0.2),(11.9,0.15),(11.9,0.125),(11.95,0.075),(11.95,0),(11.9,0),(11.9,0.05),(11.8,0.15),(11.75,0.15),(11.75,0)],
  [(12.3,0),(12.3,0.35),(12.5,0.35),(12.55,0.3),(12.55,0.2),(12.5,0.15),(12.35,0.15),(12.35,0.2),(12.475,0.2),(12.5,0.225),(12.5,0.275),(12.475,0.3),(12.35,0.3),(12.35,0)],
  [(12.6,0),(12.6,0.35),(12.8,0.35),(12.85,0.3),(12.65,0.3),(12.65,0.2),(12.775,0.2),(12.8,0.225),(12.8,0.275),(12.775,0.3),(12.85,0.3),(12.85,0.2),(12.8,0.15),(12.8,0.125),(12.85,0.075),(12.85,0),(12.8,0),(12.8,0.05),(12.7,0.15),(12.65,0.15),(12.65,0)],
  [(12.95,0),(12.9,0.05),(12.9,0.3),(12.95,0.35),(13.1,0.35),(13.15,0.3),(13.15,0.175),(13.1,0.175),(13.1,0.275),(13.075,0.3),(12.975,0.3),(12.95,0.275),(12.95,0.075),(12.975,0.05),(13.075,0.05),(13.1,0.075),(13.1,0.175),(13.15,0.175),(13.15,0.05),(13.1,0)],
  [(13.25,0),(13.2,0.05),(13.2,0.3),(13.25,0.35),(13.4,0.35),(13.45,0.3),(13.45,0.25),(13.4,0.25),(13.4,0.275),(13.375,0.3),(13.275,0.3),(13.25,0.275),(13.25,0.075),(13.275,0.05),(13.375,0.05),(13.4,0.075),(13.4,0.1),(13.45,0.1),(13.45,0.05),(13.4,0)],
  [(13.5,0),(13.5,0.35),(13.75,0.35),(13.75,0.3),(13.55,0.3),(13.55,0.2),(13.65,0.2),(13.65,0.15),(13.55,0.15),(13.55,0.05),(13.75,0.05),(13.75,0)],
  [(13.85,0),(13.8,0.05),(13.8,0.1),(13.85,0.1),(13.85,0.075),(13.875,0.05),(13.975,0.05),(14,0.075),(14,0.125),(13.975,0.15),(13.85,0.15),(13.8,0.2),(13.8,0.3),(13.85,0.35),(14,0.35),(14.05,0.3),(14.05,0.25),(14,0.25),(14,0.275),(13.975,0.3),(13.875,0.3),(13.85,0.275),(13.85,0.225),(13.875,0.2),(14,0.2),(14.05,0.15),(14.05,0.05),(14,0)],
  [(14.15,0),(14.1,0.05),(14.1,0.1),(14.15,0.1),(14.15,0.075),(14.175,0.05),(14.275,0.05),(14.3,0.075),(14.3,0.125),(14.275,0.15),(14.15,0.15),(14.1,0.2),(14.1,0.3),(14.15,0.35),(14.3,0.35),(14.35,0.3),(14.35,0.25),(14.3,0.25),(14.3,0.275),(14.275,0.3),(14.175,0.3),(14.15,0.275),(14.15,0.225),(14.175,0.2),(14.3,0.2),(14.35,0.15),(14.35,0.05),(14.3,0)],
  [(14.7,0),(14.7,0.35),(14.9,0.35),(14.95,0.3),(14.75,0.3),(14.75,0.2),(14.875,0.2),(14.9,0.225),(14.9,0.275),(14.875,0.3),(14.95,0.3),(14.95,0.2),(14.925,0.175),(14.95,0.15),(14.75,0.15),(14.75,0.05),(14.875,0.05),(14.9,0.075),(14.9,0.125),(14.875,0.15),(14.95,0.15),(14.95,0.05),(14.9,0)],
  [(15.075,0),(15.075,0.05),(15.1,0.05),(15.1,0.3),(15.075,0.3),(15.075,0.35),(15.175,0.35),(15.175,0.3),(15.15,0.3),(15.15,0.05),(15.175,0.05),(15.175,0)],
  [(15.3,0),(15.3,0.275),(15.375,0.35),(15.475,0.35),(15.525,0.3),(15.4,0.3),(15.35,0.25),(15.35,0.175),(15.5,0.175),(15.5,0.25),(15.45,0.3),(15.525,0.3),(15.55,0.275),(15.55,0),(15.5,0),(15.5,0.125),(15.35,0.125),(15.35,0)],
  [(15.65,0),(15.6,0.05),(15.6,0.1),(15.65,0.1),(15.65,0.075),(15.675,0.05),(15.775,0.05),(15.8,0.075),(15.8,0.125),(15.775,0.15),(15.65,0.15),(15.6,0.2),(15.6,0.3),(15.65,0.35),(15.8,0.35),(15.85,0.3),(15.85,0.25),(15.8,0.25),(15.8,0.275),(15.775,0.3),(15.675,0.3),(15.65,0.275),(15.65,0.225),(15.675,0.2),(15.8,0.2),(15.85,0.15),(15.85,0.05),(15.8,0)])

ebeam_gc_te1550 = lib.new_cell('ebeam_gc_te1550')
R(ebeam_gc_te1550, Si, [(-0.001,-0.001,0.001,0.001)])
P(ebeam_gc_te1550, DevRec, [(-37.607,-13.5),(-38.627,-10.245),(-39.378,-6.832),(-39.647,-5.058),(-39.835,-3.274),(-39.969,0.224),(-39.812,3.541),(-39.331,7.097),(-38.557,10.505),(-37.546,13.669),(-22.8,8.353),(-14.109,5.36),(0,0.75),(0,-0.75),(-14.109,-5.36)])
P(ebeam_gc_te1550, FbrTgt, [(-20.621,-4.5),(-21.495,-4.37),(-22.326,-4.073),(-23.084,-3.619),(-23.738,-3.026),(-24.264,-2.316),(-24.642,-1.518),(-24.857,-0.661),(-24.9,0.221),(-24.77,1.095),(-24.473,1.926),(-24.019,2.684),(-23.426,3.338),(-22.716,3.864),(-21.918,4.242),(-21.061,4.457),(-20.179,4.5),(-19.305,4.37),(-18.474,4.073),(-17.716,3.619),(-17.062,3.026),(-16.536,2.316),(-16.158,1.518),(-15.943,0.661),(-15.9,-0.221),(-16.03,-1.095),(-16.327,-1.926),(-16.781,-2.684),(-17.374,-3.338),(-18.084,-3.864),(-18.882,-4.242),(-19.739,-4.457)])
ebeam_gc_te1550.add(gdstk.FlexPath([(-0.05,0),(0.05,0)], 0.5, ends="flush", simple_path=True, layer=1, datatype=10))  # PinRec
ebeam_gc_te1550.add(gdstk.Reference(te1550_subgc_neg31_oxide, (0,0)))
ebeam_gc_te1550.add(gdstk.Reference(text, (-32,4)))
ebeam_gc_te1550.add(gdstk.Reference(text_1, (-32,3)))
ebeam_gc_te1550.add(gdstk.Label('opt1', (0,0), layer=1, texttype=10))
ebeam_gc_te1550.add(gdstk.Label('Component=ebeam_gc_te1550', (-28,-5), layer=68, texttype=0))
ebeam_gc_te1550.add(gdstk.Label('Lumerical_INTERCONNECT_library=Design kits/ebeam', (-29,-7), layer=68, texttype=0))

waveguide = lib.new_cell('Waveguide')
P(waveguide, Si, [(-239.36,-510.18),(-239.36,-509.68),(-224.823,-509.678),(-223.833,-509.641),(-222.843,-509.514),(-222.175,-509.335),(-221.736,-509.139),(-221.372,-508.895),(-221.074,-508.597),(-220.634,-507.794),(-220.38,-506.658),(-220.29,-504.93),(-220.29,-387.93),(-220.403,-386.04),(-220.519,-385.45),(-220.727,-384.836),(-220.947,-384.436),(-221.217,-384.107),(-221.547,-383.836),(-221.947,-383.616),(-222.561,-383.408),(-223.151,-383.292),(-224.823,-383.181),(-239.36,-383.18),(-239.36,-382.68),(-224.819,-382.681),(-223.25,-382.774),(-222.29,-382.964),(-221.618,-383.219),(-221.057,-383.578),(-220.608,-384.049),(-220.271,-384.632),(-220.035,-385.326),(-219.885,-386.139),(-219.8,-387.282),(-219.79,-504.93),(-219.884,-506.72),(-220.034,-507.533),(-220.215,-508.097),(-220.459,-508.59),(-220.773,-509.012),(-221.159,-509.362),(-221.617,-509.64),(-222.146,-509.852),(-222.909,-510.034),(-223.797,-510.139),(-225.04,-510.18)])
P(waveguide, Waveguide, [(-239.36,-510.18),(-239.36,-509.68),(-224.823,-509.678),(-223.833,-509.641),(-222.843,-509.514),(-222.175,-509.335),(-221.736,-509.139),(-221.372,-508.895),(-221.074,-508.597),(-220.634,-507.794),(-220.38,-506.658),(-220.29,-504.93),(-220.29,-387.93),(-220.403,-386.04),(-220.519,-385.45),(-220.727,-384.836),(-220.947,-384.436),(-221.217,-384.107),(-221.547,-383.836),(-221.947,-383.616),(-222.561,-383.408),(-223.151,-383.292),(-224.823,-383.181),(-239.36,-383.18),(-239.36,-382.68),(-224.819,-382.681),(-223.25,-382.774),(-222.29,-382.964),(-221.618,-383.219),(-221.057,-383.578),(-220.608,-384.049),(-220.271,-384.632),(-220.035,-385.326),(-219.885,-386.139),(-219.8,-387.282),(-219.79,-504.93),(-219.884,-506.72),(-220.034,-507.533),(-220.215,-508.097),(-220.459,-508.59),(-220.773,-509.012),(-221.159,-509.362),(-221.617,-509.64),(-222.146,-509.852),(-222.909,-510.034),(-223.797,-510.139),(-225.04,-510.18)])
P(waveguide, DevRec, [(-239.36,-510.68),(-239.36,-509.18),(-225.041,-509.18),(-223.809,-509.137),(-222.846,-509.004),(-222.144,-508.784),(-221.664,-508.487),(-221.482,-508.305),(-221.185,-507.825),(-221.065,-507.505),(-220.887,-506.674),(-220.79,-504.93),(-220.79,-387.93),(-220.888,-386.185),(-221.066,-385.354),(-221.186,-385.034),(-221.483,-384.554),(-221.665,-384.372),(-222.145,-384.075),(-223.296,-383.777),(-225.041,-383.68),(-239.36,-383.68),(-239.36,-382.18),(-225.039,-382.18),(-223.088,-382.291),(-222.013,-382.525),(-221.531,-382.707),(-220.691,-383.232),(-220.343,-383.58),(-220.052,-383.979),(-219.636,-384.902),(-219.402,-385.977),(-219.301,-387.228),(-219.29,-504.93),(-219.401,-506.882),(-219.635,-507.957),(-219.817,-508.439),(-220.342,-509.279),(-221.089,-509.918),(-221.53,-510.152),(-222.53,-510.47),(-223.689,-510.633),(-225.039,-510.68)])
waveguide.add(gdstk.FlexPath([(-239.35,-382.93),(-239.37,-382.93)], 0.5, ends="flush", simple_path=True, layer=1, datatype=10))  # PinRec
waveguide.add(gdstk.FlexPath([(-239.35,-509.93),(-239.37,-509.93)], 0.5, ends="flush", simple_path=True, layer=1, datatype=10))  # PinRec
waveguide.add(gdstk.Label('opt1', (-239.36,-382.93), layer=1, texttype=10))
waveguide.add(gdstk.Label('opt2', (-239.36,-509.93), layer=1, texttype=10))
waveguide.add(gdstk.Label('Lumerical_INTERCONNECT_library=Design kits/EBeam', (-239.36,-383.03), layer=68, texttype=0))
waveguide.add(gdstk.Label('Component=ebeam_wg_integral_1550', (-239.36,-382.83), layer=68, texttype=0))
waveguide.add(gdstk.Label('cellName=Waveguide', (-239.36,-382.73), layer=68, texttype=0))
waveguide.add(gdstk.Label('Spice_param:wg_length=0.000162537 wg_width=5e-07 points="[[-239.36,-382.93],[-220.04,-382.93],[-220.04,-509.93],[-239.36,-509.93]]" radius=5e-06', (-239.36,-382.93), layer=68, texttype=0))
waveguide.add(gdstk.Label('Length=162.537 (microns)', (-239.36,-383.53), layer=68, texttype=0))
waveguide.add(gdstk.Label('waveguide_type=Strip TE 1550 nm, w=500 nm', (-239.36,-383.13), layer=68, texttype=0))

mzi_te_cutback = lib.new_cell('MZI_TE_Cutback')
r = gdstk.Reference(ebeam_gc_te1550, (39.969,13.5)); r.repetition = gdstk.Repetition(1, 2, v1=(0,0), v2=(0,127)); mzi_te_cutback.add(r)
mzi_te_cutback.add(gdstk.Reference(waveguide, (279.329,523.43)))
mzi_te_cutback.add(gdstk.Label('opt_in_TE_1550_device_takianf_cutback', (39.969,140.5), layer=10, texttype=0))

lib.write_gds('MZI_TE_Cutback.gds')
